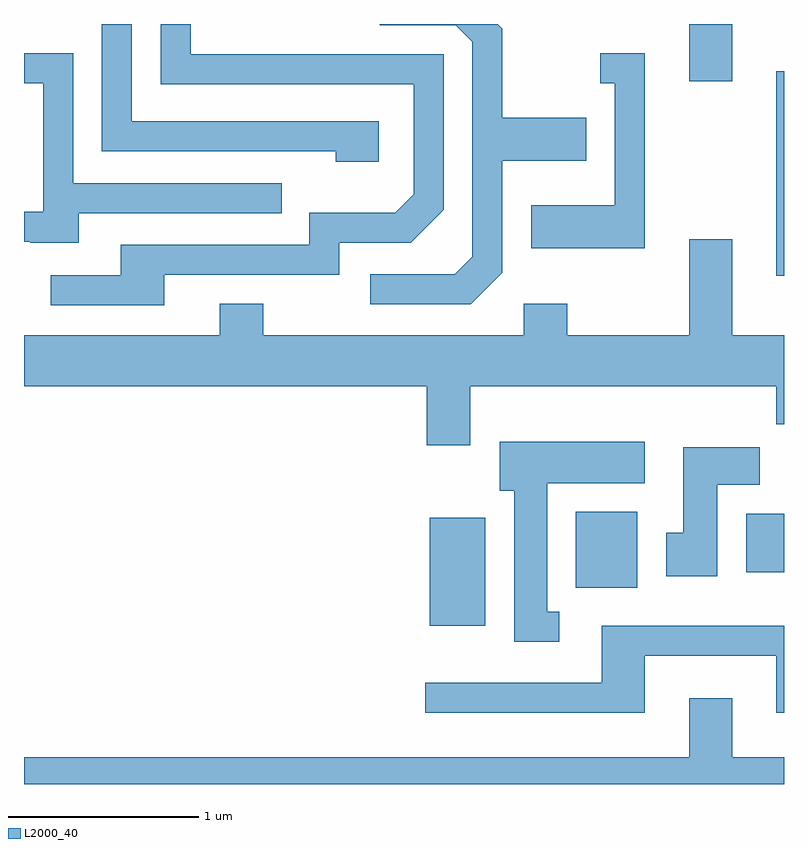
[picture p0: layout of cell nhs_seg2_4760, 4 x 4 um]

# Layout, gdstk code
import gdstk
lib = gdstk.Library(unit=1e-6, precision=1e-09)
def R(c, l, rs):  # rectangles x0, y0, x1, y1
    for r in rs: c.add(gdstk.rectangle(r[:2], r[2:], *l))
def P(c, l, *ps):  # polygons
    for p in ps: c.add(gdstk.Polygon(p, *l))
L2000_40 = (2000, 40)

nhs_seg2_4760 = lib.new_cell('nhs_seg2_4760')
R(nhs_seg2_4760, L2000_40, [(327.746,1022.636,328.039,1023.204), (328.516,1022.836,328.839,1023.234), (329.411,1022.916,329.611,1023.224), (329.571,1024.476,329.611,1025.554), (329.111,1025.501,329.339,1025.802)])
P(nhs_seg2_4760, L2000_40, [(328.129,1024.494),(328.129,1025.081),(328.569,1025.081),(328.569,1025.309),(328.129,1025.309),(328.129,1025.777),(328.104,1025.802),(327.483,1025.802),(327.483,1025.796),(327.884,1025.796),(327.971,1025.709),(327.971,1024.577),(327.879,1024.484),(327.433,1024.484),(327.433,1024.326),(327.962,1024.326)],
  [(327.479,1025.289),(326.179,1025.289),(326.179,1025.802),(325.611,1025.802),(325.611,1025.801),(326.021,1025.801),(326.021,1025.131),(327.251,1025.131),(327.251,1025.076),(327.479,1025.076)],
  [(326.349,1024.481),(327.269,1024.481),(327.269,1024.651),(327.647,1024.651),(327.819,1024.824),(327.819,1025.644),(326.489,1025.644),(326.489,1025.802),(326.331,1025.802),(326.331,1025.486),(327.661,1025.486),(327.661,1024.907),(327.564,1024.809),(327.111,1024.809),(327.111,1024.639),(326.121,1024.639),(326.121,1024.479),(325.753,1024.479),(325.753,1024.321),(326.349,1024.321)],
  [(325.899,1024.806),(326.968,1024.806),(326.968,1024.964),(325.869,1024.964),(325.869,1025.649),(325.611,1025.649),(325.611,1025.491),(325.711,1025.491),(325.711,1024.814),(325.611,1024.814),(325.611,1024.656),(325.645,1024.656),(325.645,1024.651),(325.899,1024.651)],
  [(328.879,1025.649),(328.643,1025.649),(328.643,1025.491),(328.721,1025.491),(328.721,1024.849),(328.281,1024.849),(328.281,1024.621),(328.879,1024.621)],
  [(327.959,1023.896),(329.571,1023.896),(329.571,1023.696),(329.611,1023.696),(329.611,1024.164),(329.339,1024.164),(329.339,1024.669),(329.111,1024.669),(329.111,1024.164),(328.469,1024.164),(328.469,1024.329),(328.241,1024.329),(328.241,1024.164),(326.869,1024.164),(326.869,1024.329),(326.641,1024.329),(326.641,1024.164),(325.611,1024.164),(325.611,1023.896),(327.731,1023.896),(327.731,1023.586),(327.959,1023.586)],
  [(328.428,1022.709),(328.364,1022.709),(328.364,1023.386),(328.879,1023.386),(328.879,1023.604),(328.116,1023.604),(328.116,1023.346),(328.191,1023.346),(328.191,1022.551),(328.428,1022.551)],
  [(329.259,1023.376),(329.484,1023.376),(329.484,1023.574),(329.081,1023.574),(329.081,1023.124),(328.991,1023.124),(328.991,1022.896),(329.259,1022.896)],
  [(328.879,1022.476),(329.571,1022.476),(329.571,1022.176),(329.611,1022.176),(329.611,1022.634),(328.651,1022.634),(328.651,1022.334),(327.723,1022.334),(327.723,1022.176),(328.879,1022.176)],
  [(329.611,1021.944),(329.339,1021.944),(329.339,1022.254),(329.111,1022.254),(329.111,1021.944),(325.611,1021.944),(325.611,1021.802),(329.611,1021.802)])

lib.write_gds('nhs_seg2_4760.gds')
